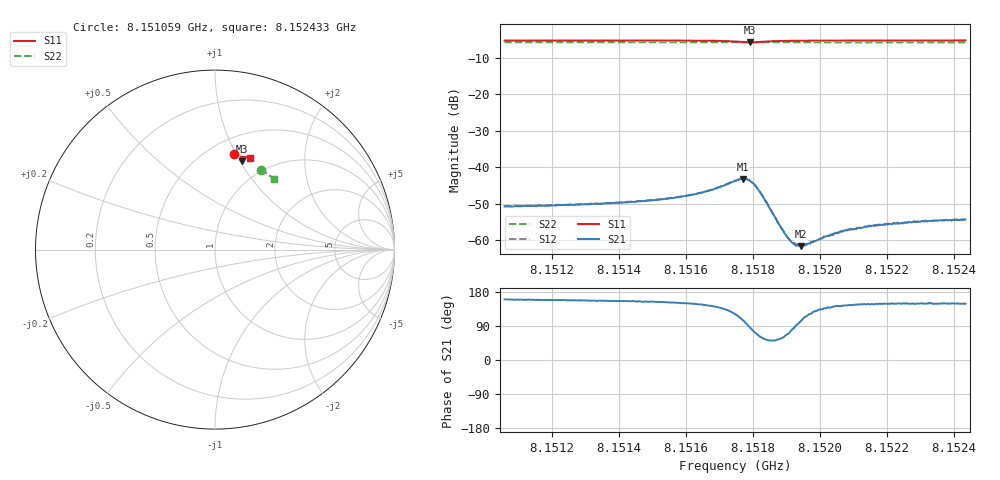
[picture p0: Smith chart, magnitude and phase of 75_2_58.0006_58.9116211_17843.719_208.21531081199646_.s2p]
#  HZ  S  RI  R  50.00
! Rohde & Schwarz Vector Network Analyzer
! Rohde-Schwarz,ZNB20-2Port,1311601062101988,3.16
! Created: UTC 3/21/2024, 12:53:39 AM
! freq[Hz]  re:S11  im:S11  re:S21  im:S21  re:S12  im:S12  re:S22  im:S22
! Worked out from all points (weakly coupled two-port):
!   401 points, 8.151059 GHz to 8.152433 GHz, reference 50 ohm
!   highest |S21| = -43.19 dB at 8.15177 GHz (marker M1); lowest = -61.6 dB at 8.151942 GHz (marker M2)
!   lowest |S11| = -5.8 dB at 8.151791 GHz (marker M3), VSWR 3.12, Z = 38 + j50.9 ohm
!   |S11| at or under -10 dB: nowhere
!   |S22| runs from -5.8 to -5.8 dB; largest |S21 - S12| = 0.00015
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8.1510592e9  0.1083 0.5321  -0.00272 0.000997  -0.00271 0.00107  0.2554 0.4462
8.1512894e9  0.1251 0.5286  -0.00287 0.00119  -0.00288 0.00127  0.2682 0.4385
8.1515195e9  0.1429 0.5239  -0.00322 0.00162  -0.00318 0.00169  0.2806 0.4303
8.1515814e9  0.1483 0.5218  -0.00339 0.00192  -0.00341 0.00199  0.284 0.4281
8.1516501e9  0.1552 0.5181  -0.00376 0.00253  -0.00374 0.00259  0.2877 0.4253
8.1517463e9  0.163 0.5016  -0.00339 0.00555  -0.0033 0.00567  0.2925 0.421
8.1517703e9  0.1578 0.4941  -0.00173 0.00671  -0.00166 0.00677  0.2933 0.4201
8.1517909e9  0.1485 0.4926  0.00049 0.00647  0.000587 0.00652  0.294 0.4194
8.1518047e9  0.1429 0.496  0.00163 0.00547  0.00172 0.00553  0.2945 0.4192
8.1518184e9  0.1402 0.5012  0.00213 0.00423  0.0022 0.00422  0.2952 0.4187
8.1518803e9  0.1473 0.5155  0.000901 0.00131  0.000885 0.00132  0.2988 0.4169
8.1519043e9  0.1511 0.5169  0.000386 0.000994  0.000417 0.00101  0.3002 0.4161
8.1519215e9  0.1536 0.5174  9.98e-05 0.00089  7.75e-05 0.00091  0.301 0.4153
8.1519352e9  0.1553 0.5177  -8.42e-05 0.000834  -6.98e-05 0.000851  0.3018 0.4148
8.1519421e9  0.1562 0.5178  -0.000173 0.000812  -0.000199 0.00084  0.3023 0.4146
8.1519593e9  0.1583 0.5177  -0.000374 0.00078  -0.000401 0.000804  0.3031 0.4139
8.1519765e9  0.16 0.5176  -0.000532 0.000769  -0.000547 0.000782  0.304 0.4134
8.1520177e9  0.1641 0.5172  -0.000818 0.000791  -0.000817 0.000789  0.3061 0.4116
8.1520692e9  0.1688 0.5165  -0.00106 0.000791  -0.00108 0.000797  0.3088 0.4096
8.1521551e9  0.1758 0.5148  -0.00133 0.00085  -0.00134 0.000876  0.3132 0.4061
8.1522066e9  0.1798 0.5136  -0.00142 0.000888  -0.00143 0.000917  0.3158 0.4041
8.1524334e9  0.1959 0.5084  -0.00164 0.00101  -0.00166 0.00104  0.327 0.3946
